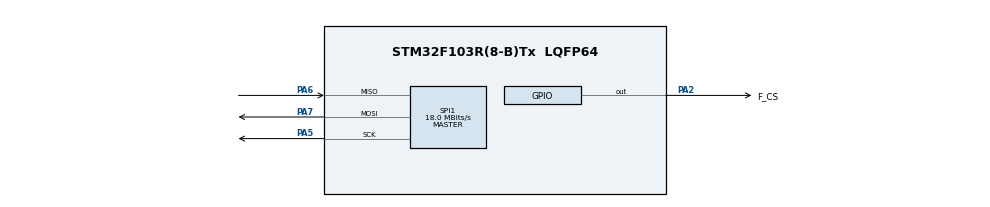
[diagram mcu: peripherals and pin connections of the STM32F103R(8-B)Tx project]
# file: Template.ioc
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Dma.Request0=SPI1_RX
Dma.Request1=SPI1_TX
Dma.SPI1_RX.0.Direction=DMA_PERIPH_TO_MEMORY
Dma.SPI1_RX.0.Instance=DMA1_Channel2
Dma.SPI1_RX.0.MemDataAlignment=DMA_MDATAALIGN_BYTE
Dma.SPI1_RX.0.MemInc=DMA_MINC_ENABLE
Dma.SPI1_RX.0.Mode=DMA_NORMAL
Dma.SPI1_RX.0.PeriphDataAlignment=DMA_PDATAALIGN_BYTE
Dma.SPI1_RX.0.PeriphInc=DMA_PINC_DISABLE
Dma.SPI1_RX.0.Priority=DMA_PRIORITY_LOW
Dma.SPI1_TX.1.Direction=DMA_MEMORY_TO_PERIPH
Dma.SPI1_TX.1.Instance=DMA1_Channel3
Dma.SPI1_TX.1.MemDataAlignment=DMA_MDATAALIGN_BYTE
Dma.SPI1_TX.1.MemInc=DMA_MINC_ENABLE
Dma.SPI1_TX.1.Mode=DMA_NORMAL
Dma.SPI1_TX.1.PeriphDataAlignment=DMA_PDATAALIGN_BYTE
Dma.SPI1_TX.1.PeriphInc=DMA_PINC_DISABLE
Dma.SPI1_TX.1.Priority=DMA_PRIORITY_LOW
FATFS._CODE_PAGE=437
FATFS._FS_RPATH=2
FATFS._MAX_LFN=25
FATFS._MAX_SS=4096
FATFS._MIN_SS=4096
FATFS._USE_FIND=1
FATFS._USE_FORWARD=1
FATFS._USE_LABEL=1
FATFS._USE_LFN=2
FATFS._USE_STRFUNC=1
FATFS._USE_TRIM=1
Mcu.Family=STM32F1
Mcu.Name=STM32F103R(8-B)Tx
Mcu.Package=LQFP64
NVIC.DMA1_Channel2_IRQn=true\:0\:0\:false\:false\:true\:false\:true
NVIC.DMA1_Channel3_IRQn=true\:0\:0\:false\:false\:true\:false\:true
NVIC.PriorityGroup=NVIC_PRIORITYGROUP_4
NVIC.SPI1_IRQn=true\:0\:0\:false\:false\:true\:true\:true
NVIC.TIM4_IRQn=true\:0\:0\:false\:false\:true\:false\:true
NVIC.TimeBase=TIM4_IRQn
NVIC.TimeBaseIP=TIM4
PA13.Mode=Serial_Wire
PA13.Signal=SYS_JTMS-SWDIO
PA14.Mode=Serial_Wire
PA14.Signal=SYS_JTCK-SWCLK
PA2.GPIO_Label=F_CS
PA2.GPIO_PuPd=GPIO_PULLUP
PA2.GPIO_Speed=GPIO_SPEED_FREQ_HIGH
PA2.PinState=GPIO_PIN_SET
PA2.Signal=GPIO_Output
PA5.Mode=Full_Duplex_Master
PA5.Signal=SPI1_SCK
PA6.Mode=Full_Duplex_Master
PA6.Signal=SPI1_MISO
PA7.Mode=Full_Duplex_Master
PA7.Signal=SPI1_MOSI
PC14-OSC32_IN.Mode=LSE-External-Oscillator
PC14-OSC32_IN.Signal=RCC_OSC32_IN
PC15-OSC32_OUT.Mode=LSE-External-Oscillator
PC15-OSC32_OUT.Signal=RCC_OSC32_OUT
PD0-OSC_IN.Mode=HSE-External-Oscillator
PD0-OSC_IN.Signal=RCC_OSC_IN
PD1-OSC_OUT.Mode=HSE-External-Oscillator
PD1-OSC_OUT.Signal=RCC_OSC_OUT
ProjectManager.HeapSize=0x200
ProjectManager.StackSize=0x400
ProjectManager.TargetToolchain=MDK-ARM V5.27
RCC.AHBFreq_Value=72000000
RCC.APB1CLKDivider=RCC_HCLK_DIV2
RCC.APB1Freq_Value=36000000
RCC.APB1TimFreq_Value=72000000
RCC.APB2Freq_Value=72000000
RCC.APB2TimFreq_Value=72000000
RCC.EnbaleCSS=true
RCC.HCLKFreq_Value=72000000
RCC.PLLMUL=RCC_PLL_MUL9
RCC.PLLSourceVirtual=RCC_PLLSOURCE_HSE
RCC.RCC_MCOSource=RCC_MCO1SOURCE_PLLCLK
RCC.RTCClockSelection=RCC_RTCCLKSOURCE_LSE
RCC.SYSCLKFreq_VALUE=72000000
RCC.SYSCLKSource=RCC_SYSCLKSOURCE_PLLCLK
RCC.USBFreq_Value=48000000
RCC.USBPrescaler=RCC_USBCLKSOURCE_PLL_DIV1_5
RTC.Date=21
RTC.Hours=23
RTC.Minutes=59
RTC.Month=RTC_MONTH_APRIL
RTC.Seconds=30
RTC.WeekDay=RTC_WEEKDAY_WEDNESDAY
RTC.Year=21
SPI1.BaudRatePrescaler=SPI_BAUDRATEPRESCALER_4
SPI1.CLKPhase=SPI_PHASE_2EDGE
SPI1.CLKPolarity=SPI_POLARITY_HIGH
SPI1.CalculateBaudRate=18.0 MBits/s
SPI1.Direction=SPI_DIRECTION_2LINES
SPI1.Mode=SPI_MODE_MASTER
SPI1.VirtualType=VM_MASTER
VP_CRC_VS_CRC.Mode=CRC_Activate
VP_FATFS_VS_Generic.Mode=User_defined
VP_RTC_VS_RTC_Activate.Mode=RTC_Enabled
VP_RTC_VS_RTC_Calendar.Mode=RTC_Calendar
VP_SYS_VS_tim4.Mode=TIM4
board=custom

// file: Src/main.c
/* USER CODE BEGIN Header */
/**
  ******************************************************************************
  * @file           : main.c
  * @brief          : Main program body
  ******************************************************************************
  * @attention
  *
  * <h2><center>&copy; Copyright (c) 2021 STMicroelectronics.
  * All rights reserved.</center></h2>
  *
  * This software component is licensed by ST under Ultimate Liberty license
  * SLA0044, the "License"; You may not use this file except in compliance with
  * the License. You may obtain a copy of the License at:
  *                             www.st.com/SLA0044
  *
  ******************************************************************************
  */
/* USER CODE END Header */
#include "main.h"
#include "crc.h"
#include "dma.h"
#include "fatfs.h"
#include "rtc.h"
#include "spi.h"
#include "gpio.h"

/* USER CODE BEGIN Includes */
#include "w25qxx.h"
/* USER CODE END Includes */

void SystemClock_Config(void);

/* USER CODE BEGIN 0 */
static void RTC_CalendarShow(uint8_t *showtime, uint8_t *showdate);
/* USER CODE END 0 */

int main(void)
{
  /* USER CODE BEGIN 1 */
  static uint8_t aShowTime[50] = {0};
  static uint8_t aShowDate[50] = {0};
  /* USER CODE END 1 */

  /* MCU Configuration--------------------------------------------------------*/

  /* Reset of all peripherals, Initializes the Flash interface and the Systick. */
  HAL_Init();

  /* Configure the system clock */
  SystemClock_Config();

  /* Initialize all configured peripherals */
  MX_GPIO_Init();
  MX_DMA_Init();
  MX_SPI1_Init();
  MX_FATFS_Init();
  MX_RTC_Init();
  MX_CRC_Init();

  /* Infinite loop */
  /* USER CODE BEGIN WHILE */
  while (1)
  {
    RTC_CalendarShow(aShowTime, aShowDate);
    HAL_Delay(1000);
    /* USER CODE END WHILE */

  }
}

void SystemClock_Config(void)
{
  LL_FLASH_SetLatency(LL_FLASH_LATENCY_2);
  while (LL_FLASH_GetLatency() != LL_FLASH_LATENCY_2)
  {
  }
  LL_RCC_HSE_Enable();

  /* Wait till HSE is ready */
  while (LL_RCC_HSE_IsReady() != 1)
  {
  }
  LL_PWR_EnableBkUpAccess();
  LL_RCC_LSE_Enable();

  /* Wait till LSE is ready */
  while (LL_RCC_LSE_IsReady() != 1)
  {
  }
  if (LL_RCC_GetRTCClockSource() != LL_RCC_RTC_CLKSOURCE_LSE)
  {
    LL_RCC_ForceBackupDomainReset();
    LL_RCC_ReleaseBackupDomainReset();
    LL_RCC_SetRTCClockSource(LL_RCC_RTC_CLKSOURCE_LSE);
  }
  LL_RCC_EnableRTC();
  LL_RCC_HSE_EnableCSS();
  LL_RCC_PLL_ConfigDomain_SYS(LL_RCC_PLLSOURCE_HSE_DIV_1, LL_RCC_PLL_MUL_9);
  LL_RCC_PLL_Enable();

  /* Wait till PLL is ready */
  while (LL_RCC_PLL_IsReady() != 1)
  {
  }
  LL_RCC_SetAHBPrescaler(LL_RCC_SYSCLK_DIV_1);
  LL_RCC_SetAPB1Prescaler(LL_RCC_APB1_DIV_2);
  LL_RCC_SetAPB2Prescaler(LL_RCC_APB2_DIV_1);
  LL_RCC_SetSysClkSource(LL_RCC_SYS_CLKSOURCE_PLL);

  /* Wait till System clock is ready */
  while (LL_RCC_GetSysClkSource() != LL_RCC_SYS_CLKSOURCE_STATUS_PLL)
  {
  }
  LL_SetSystemCoreClock(72000000);

  /* Update the time base */
  if (HAL_InitTick(TICK_INT_PRIORITY) != HAL_OK)
  {
    Error_Handler();
  }
}

/* USER CODE BEGIN 4 */
/**
  * @brief  Display the current time and date.
  * @param  showtime : pointer to buffer
  * @param  showdate : pointer to buffer
  * @retval None
  */
static void RTC_CalendarShow(uint8_t *showtime, uint8_t *showdate)
{
  RTC_DateTypeDef sdatestructureget;
  RTC_TimeTypeDef stimestructureget;
	static int year = 21;

  /* Get the RTC current Time */
  HAL_RTC_GetTime(&hrtc, &stimestructureget, RTC_FORMAT_BIN);
  /* Get the RTC current Date */
  HAL_RTC_GetDate(&hrtc, &sdatestructureget, RTC_FORMAT_BIN);
  /* Display time Format : hh:mm:ss */
  sprintf((char *)showtime, "%2d:%2d:%2d", stimestructureget.Hours, stimestructureget.Minutes, stimestructureget.Seconds);
  /* Display date Format : mm-dd-yy */
  sprintf((char *)showdate, "%2d-%2d-%2d", sdatestructureget.Month, sdatestructureget.Date, 2000 + sdatestructureget.Year);

  if (stimestructureget.Seconds == 0)
  {
		year++;
    RTC_DateTypeDef date = {0};
    RTC_TimeTypeDef time = {0};

		date.Year = year;
		date.Month=11;
		date.Date=20;

    SetDate(date);
		time.Hours=23;
		time.Minutes=59;
		time.Seconds=50;

    SetTime(time);
  }
}
/* USER CODE END 4 */

void HAL_TIM_PeriodElapsedCallback(TIM_HandleTypeDef *htim)
{
  if (htim->Instance == TIM4)
  {
    HAL_IncTick();
  }
}

void Error_Handler(void)
{
  __disable_irq();
  while (1)
  {
  }
}

/************************ (C) COPYRIGHT STMicroelectronics *****END OF FILE****/
